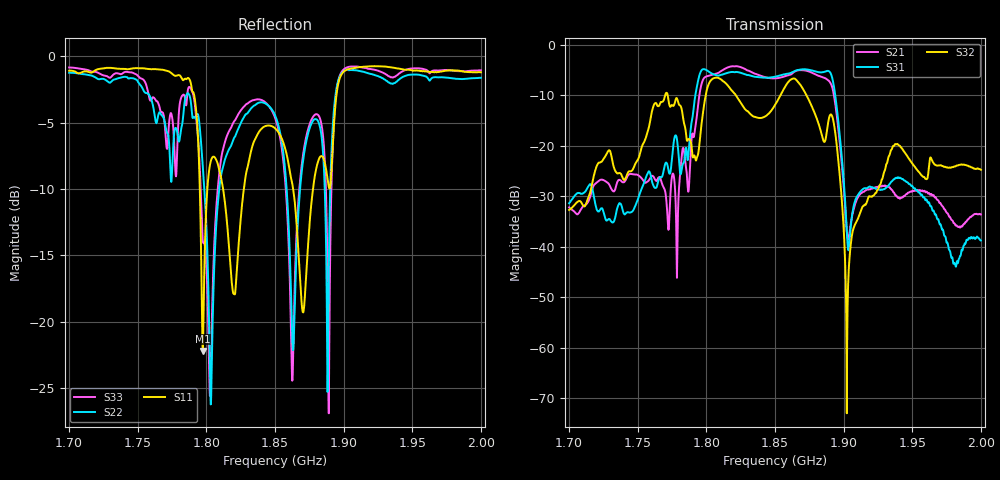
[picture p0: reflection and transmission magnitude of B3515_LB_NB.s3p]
! Matrix data file written by TouchstoneData, EPCOS AG
! FILENAME: "LQ98_LB_NB.s3p_newformat"
! COMMENT: "(LQ98_LB_NB.s3p)"
! INFO: nport=3, nfreq=1601
! DATE: "Thu Apr  2 15:29:19 2009"
! USER: "Michael Schemies"
! port | pin | signal
!  1  |  9  |  input
!  2  |  1  |  output
!  3  |  2  |  output
# MHZ S MA R 50
! freq  magS11 angS11  magS12 angS12  magS13 angS13  ...
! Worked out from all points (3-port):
!   1601 points, 1.7 GHz to 2 GHz, reference 50 ohm
!   strongest paths, dB at 1.7 GHz, 1.775 GHz, 1.85 GHz, 1.925 GHz, 2 GHz:
!     S32: -32.7, -11.9, -11.9, -28.7, -24.7
!     S31: -31.4, -22.2, -6.3, -28.6, -38.7
!     S21: -32.2, -26.0, -6.6, -28.1, -33.6
!   lowest |S11| = -22.2 dB at 1.797 GHz (marker M1), VSWR 1.17, Z = 43 + j1.7 ohm
!   |S11| at or under -10 dB: 1.795226 GHz to 1.800713 GHz (5.488 MHz wide, 0.305 % of centre); 1.812 GHz to 1.827 GHz (15.14 MHz wide, 0.832 % of centre); 1.863 GHz to 1.878 GHz (14.49 MHz wide, 0.775 % of centre)
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1700  0.8817 -130.0  0.02468 137.6  0.02699 146.4
      0.02462 137.1  0.8666 -84.9  0.02313 104.6
      0.02701 146.0  0.0232 104.7  0.9069 -88.1
1778.75  0.8464 -167.1  0.007397 -45.6  0.1113 37.6
         0.007352 -45.8  0.5185 -97.1  0.2897 35.6
         0.1114 37.4  0.2908 35.8  0.4434 -80.2
1797.312  0.07761 165.3  0.4463 -167.5  0.5731 8.7
          0.444 -168.1  0.3899 -155.8  0.2007 170.9
          0.5728 8.3  0.2018 171.0  0.204 -147.9
1803.312  0.4041 -160.5  0.504 146.5  0.5261 -39.5
          0.5019 146.0  0.04883 78.5  0.4448 85.8
          0.5264 -39.9  0.4463 85.9  0.0675 -50.6
1850  0.5355 -121.3  0.4687 -10.4  0.4849 161.0
      0.4663 -10.8  0.5996 -98.1  0.2525 -177.7
      0.484 160.5  0.2535 -177.8  0.5871 -107.4
1862.562  0.3314 -162.9  0.5231 -42.0  0.5385 126.9
          0.5206 -42.3  0.08867 153.4  0.4604 94.5
          0.5367 126.5  0.4613 94.4  0.0599 112.0
1891.625  0.4118 -14.3  0.3835 150.2  0.4748 -32.0
          0.3821 149.8  0.4943 35.1  0.1965 17.6
          0.474 -32.5  0.1969 17.4  0.3983 26.3
1902.5  0.8913 -53.7  0.01337 128.0  0.01298 -64.5
        0.01332 127.7  0.891 -22.9  0.0009141 71.4
        0.01294 -65.0  0.0009083 71.2  0.9075 -31.0
1936.812  0.9043 -87.9  0.03441 -174.4  0.0467 45.3
          0.03439 -174.7  0.7913 -50.2  0.1007 86.9
          0.0467 45.0  0.1007 86.9  0.8355 -56.1
2000  0.8697 -99.9  0.02093 164.5  0.01155 30.2
      0.02091 164.2  0.8291 -63.6  0.05799 43.1
      0.01155 29.8  0.05804 42.9  0.8846 -67.5
